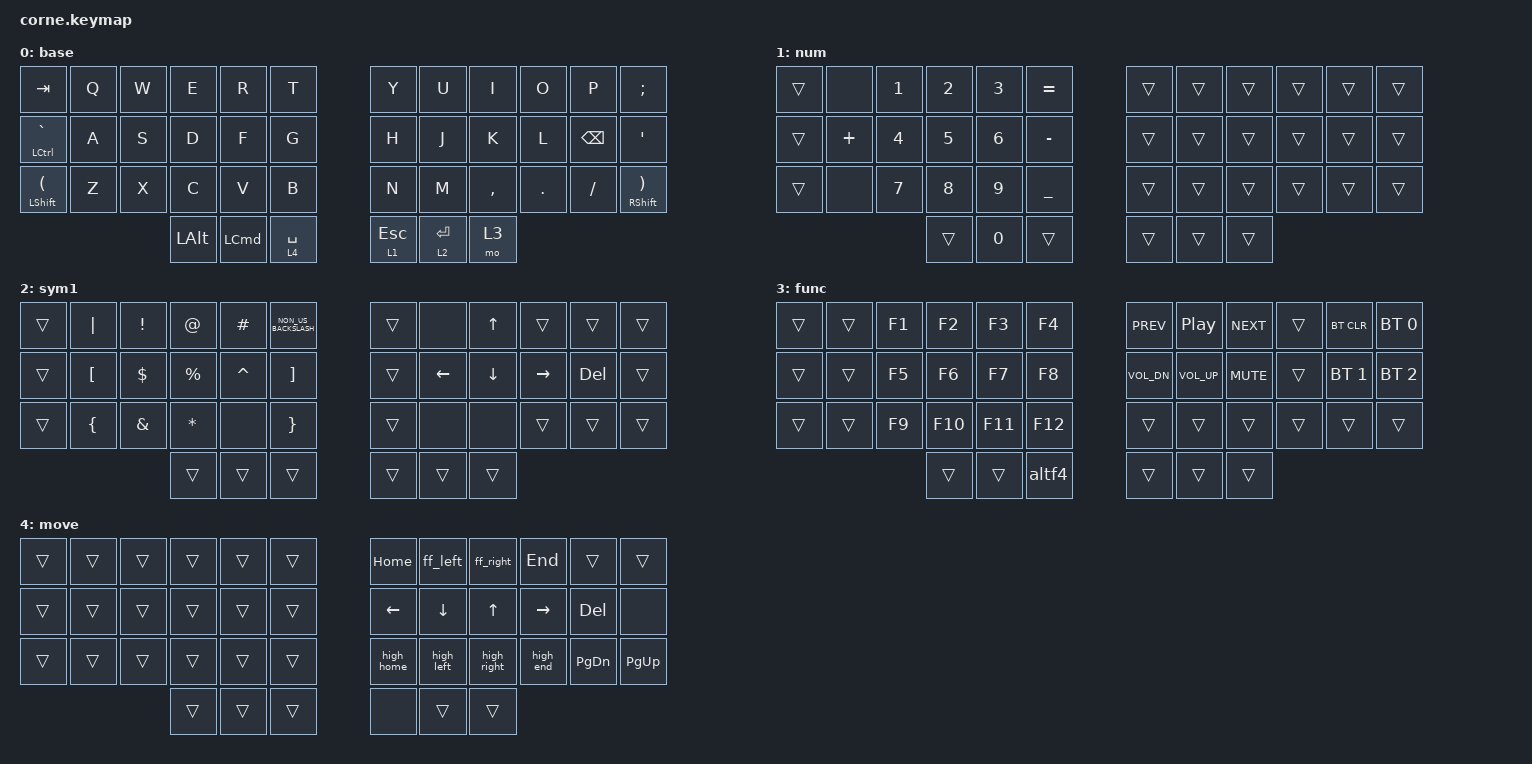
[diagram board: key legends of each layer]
/*
 * Copyright (c) 2020 The ZMK Contributors
 *
 * SPDX-License-Identifier: MIT
 */

#include <behaviors.dtsi>
#include <dt-bindings/zmk/bt.h>
#include <dt-bindings/zmk/keys.h>

/ {
    behaviors {
        rpi: rpi {
            compatible = "zmk,behavior-hold-tap";
            label = "RPI";
            bindings = <&kp>, <&kp>;

            #binding-cells = <2>;
            tapping-term-ms = <450>;
            quick-tap-ms = <400>;
            require-prior-idle-ms = <400>;
            flavor = "tap-preferred";
        };

        rpi2: rpi2 {
            compatible = "zmk,behavior-hold-tap";
            label = "RPI2";
            bindings = <&kp>, <&kp>;

            #binding-cells = <2>;
            tapping-term-ms = <150>;
            flavor = "tap-preferred";
            quick-tap-ms = <150>;
            require-prior-idle-ms = <125>;
        };
    };

    macros {
        high_left: high_left {
            compatible = "zmk,behavior-macro";
            #binding-cells = <0>;
            bindings =
                <&macro_press>,
                <&kp LCTRL &kp LEFT_SHIFT>,
                <&macro_tap>,
                <&kp LEFT>,
                <&macro_release>,
                <&kp LCTRL &kp LEFT_SHIFT>;

            label = "HIGH_LEFT";
        };

        high_right: high_right {
            compatible = "zmk,behavior-macro";
            #binding-cells = <0>;
            bindings =
                <&macro_press>,
                <&kp LCTRL &kp LEFT_SHIFT>,
                <&macro_tap>,
                <&kp RIGHT>,
                <&macro_release>,
                <&kp LCTRL &kp LEFT_SHIFT>;

            label = "HIGH_RIGHT";
        };

        ff_right: ff_right {
            compatible = "zmk,behavior-macro";
            #binding-cells = <0>;
            bindings =
                <&macro_press>,
                <&kp LCTRL>,
                <&macro_tap>,
                <&kp RIGHT>,
                <&macro_release>,
                <&kp LCTRL>;

            label = "FF_RIGHT";
        };

        ff_left: ff_left {
            compatible = "zmk,behavior-macro";
            #binding-cells = <0>;
            bindings =
                <&macro_press>,
                <&kp LEFT_CONTROL>,
                <&macro_tap>,
                <&kp LEFT>,
                <&macro_release>,
                <&kp LCTRL>;

            label = "FF_LEFT";
        };

        altf4: altf4 {
            compatible = "zmk,behavior-macro";
            #binding-cells = <0>;
            bindings =
                <&macro_press>,
                <&kp LEFT_ALT>,
                <&macro_tap>,
                <&kp F4>,
                <&macro_release>,
                <&kp LEFT_ALT>;

            label = "ALTF4";
        };

        high_home: high_home {
            compatible = "zmk,behavior-macro";
            #binding-cells = <0>;
            bindings =
                <&macro_press>,
                <&kp LEFT_SHIFT>,
                <&macro_tap>,
                <&kp HOME>,
                <&macro_release>,
                <&kp LEFT_SHIFT>;

            label = "HIGH_HOME";
        };

        high_end: high_end {
            compatible = "zmk,behavior-macro";
            #binding-cells = <0>;
            bindings =
                <&macro_press>,
                <&kp LEFT_SHIFT>,
                <&macro_tap>,
                <&kp END>,
                <&macro_release>,
                <&kp LEFT_SHIFT>;

            label = "HIGH_END";
        };
    };

    keymap {
        compatible = "zmk,keymap";

        default_layer {
            // -----------------------------------------------------------------------------------------
            // |  TAB |  Q  |  W  |  E  |  R  |  T  |   |  Y  |  U   |  I  |  O  |  P  | BKSP |
            // | CTRL |  A  |  S  |  D  |  F  |  G  |   |  H  |  J   |  K  |  L  |  ;  |  '   |
            // | SHFT |  Z  |  X  |  C  |  V  |  B  |   |  N  |  M   |  ,  |  .  |  /  | ESC  |
            //                    | GUI | LWR | SPC |   | ENT | RSE  | ALT |

            label = "base";
            bindings = <
&kp TAB                          &kp Q  &kp W  &kp E         &kp R             &kp T          &kp Y         &kp U        &kp I      &kp O       &kp P          &kp SEMICOLON
&mt LEFT_CONTROL GRAVE           &kp A  &kp S  &kp D         &kp F             &kp G          &kp H         &kp J        &kp K      &kp L       &kp BACKSPACE  &kp SQT
&mt LEFT_SHIFT LEFT_PARENTHESIS  &kp Z  &kp X  &kp C         &kp V             &kp B          &kp N         &kp M        &kp COMMA  &kp PERIOD  &kp SLASH      &mt RIGHT_SHIFT RIGHT_PARENTHESIS
                                               &kp LEFT_ALT  &kp LEFT_COMMAND  &lt 4 SPACE    &lt 1 ESCAPE  &lt 2 ENTER  &mo 3
            >;
        };

        number_layer {
            // -----------------------------------------------------------------------------------------
            // |  TAB |  1  |  2  |  3  |  4  |  5  |   |  6  |  7  |  8  |  9  |  0  | BKSP |
            // | BTCLR| BT1 | BT2 | BT3 | BT4 | BT5 |   | LFT | DWN |  UP | RGT |     |      |
            // | SHFT |     |     |     |     |     |   |     |     |     |     |     |      |
            //                    | GUI |     | SPC |   | ENT |     | ALT |

            label = "num";
            bindings = <
&trans  &none     &kp NUMBER_1  &kp NUMBER_2  &kp NUMBER_3  &kp EQUAL    &trans  &trans  &trans  &trans  &trans  &trans
&trans  &kp PLUS  &kp NUMBER_4  &kp N5        &kp NUMBER_6  &kp MINUS    &trans  &trans  &trans  &trans  &trans  &trans
&trans  &none     &kp N7        &kp N8        &kp N9        &kp UNDER    &trans  &trans  &trans  &trans  &trans  &trans
                                &trans        &kp N0        &trans       &trans  &trans  &trans
            >;
        };

        p_symbol_layer {
            // -----------------------------------------------------------------------------------------
            // |  TAB |  !  |  @  |  #  |  $  |  %  |   |  ^  |  &  |  *  |  (  |  )  | BKSP |
            // | CTRL |     |     |     |     |     |   |  -  |  =  |  [  |  ]  |  \  |  `   |
            // | SHFT |     |     |     |     |     |   |  _  |  +  |  {  |  }  | "|" |  ~   |
            //                    | GUI |     | SPC |   | ENT |     | ALT |

            label = "sym1";
            bindings = <
&trans  &kp PIPE          &kp EXCLAMATION  &kp AT_SIGN   &kp HASH   &kp NON_US_BACKSLASH    &trans  &none           &kp UP_ARROW    &trans     &trans   &trans
&trans  &kp LEFT_BRACKET  &kp DOLLAR       &kp PERCENT   &kp CARET  &kp RIGHT_BRACKET       &trans  &kp LEFT_ARROW  &kp DOWN_ARROW  &kp RIGHT  &kp DEL  &trans
&trans  &kp LEFT_BRACE    &kp AMPERSAND    &kp ASTERISK  &none      &kp RIGHT_BRACE         &trans  &none           &none           &trans     &trans   &trans
                                           &trans        &trans     &trans                  &trans  &trans          &trans
            >;
        };

        function_layer {
            bindings = <
&trans  &trans  &kp F1  &kp F2   &kp F3   &kp F4     &kp C_PREV    &kp C_PLAY_PAUSE  &kp C_NEXT  &trans  &bt BT_CLR    &bt BT_SEL 0
&trans  &trans  &kp F5  &kp F6   &kp F7   &kp F8     &kp C_VOL_DN  &kp C_VOLUME_UP   &kp C_MUTE  &trans  &bt BT_SEL 1  &bt BT_SEL 2
&trans  &trans  &kp F9  &kp F10  &kp F11  &kp F12    &trans        &trans            &trans      &trans  &trans        &trans
                        &trans   &trans   &altf4     &trans        &trans            &trans
            >;

            label = "func";
        };

        movement_layer {
            bindings = <
&trans  &trans  &trans  &trans  &trans  &trans    &kp HOME    &ff_left    &ff_right    &kp END    &trans         &trans
&trans  &trans  &trans  &trans  &trans  &trans    &kp LEFT    &kp DOWN    &kp UP       &kp RIGHT  &kp DEL        &none
&trans  &trans  &trans  &trans  &trans  &trans    &high_home  &high_left  &high_right  &high_end  &kp PAGE_DOWN  &kp PAGE_UP
                        &trans  &trans  &trans    &none       &trans      &trans
            >;

            label = "move";
        };
    };
};
